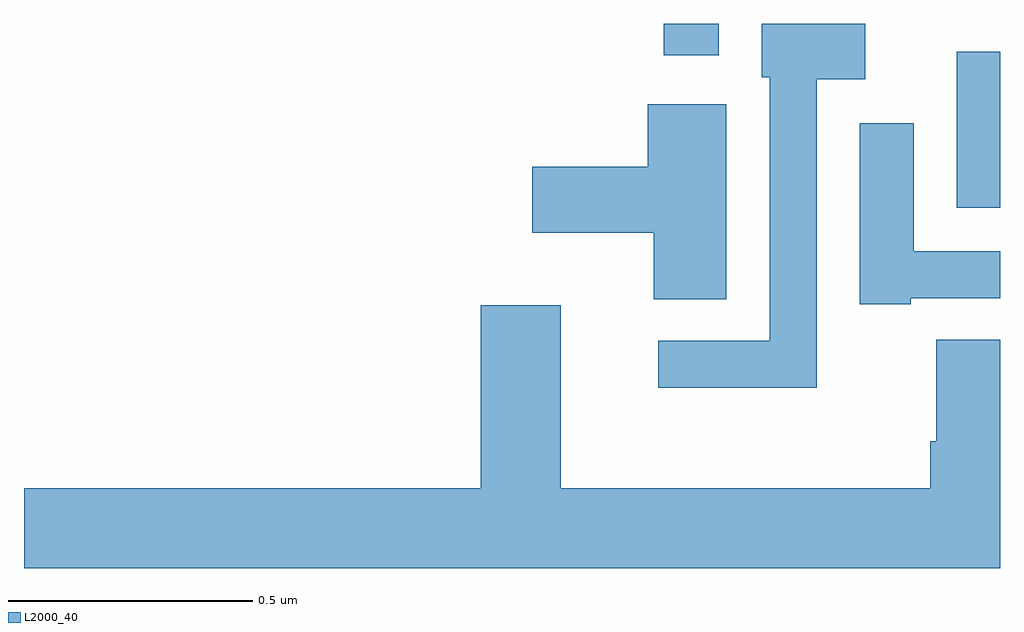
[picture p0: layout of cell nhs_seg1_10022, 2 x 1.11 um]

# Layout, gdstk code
import gdstk
lib = gdstk.Library(unit=1e-6, precision=1e-09)
def R(c, l, rs):  # rectangles x0, y0, x1, y1
    for r in rs: c.add(gdstk.rectangle(r[:2], r[2:], *l))
def P(c, l, *ps):  # polygons
    for p in ps: c.add(gdstk.Polygon(p, *l))
L2000_40 = (2000, 40)

nhs_seg1_10022 = lib.new_cell('nhs_seg1_10022')
R(nhs_seg1_10022, L2000_40, [(237.911,533.822,238,534.142), (237.311,534.135,237.424,534.199)])
P(nhs_seg1_10022, L2000_40, [(237.624,534.086),(237.724,534.086),(237.724,534.199),(237.512,534.199),(237.512,534.09),(237.528,534.09),(237.528,533.55),(237.3,533.55),(237.3,533.453),(237.624,533.453)],
  [(237.439,534.034),(237.278,534.034),(237.278,533.906),(237.042,533.906),(237.042,533.771),(237.29,533.771),(237.29,533.635),(237.439,533.635)],
  [(237.817,533.637),(238,533.637),(238,533.733),(237.823,533.733),(237.823,533.995),(237.713,533.995),(237.713,533.625),(237.817,533.625)],
  [(238,533.552),(237.869,533.552),(237.869,533.344),(237.857,533.344),(237.857,533.248),(237.1,533.248),(237.1,533.623),(236.936,533.623),(236.936,533.248),(236,533.248),(236,533.084),(238,533.084)])

lib.write_gds('nhs_seg1_10022.gds')
